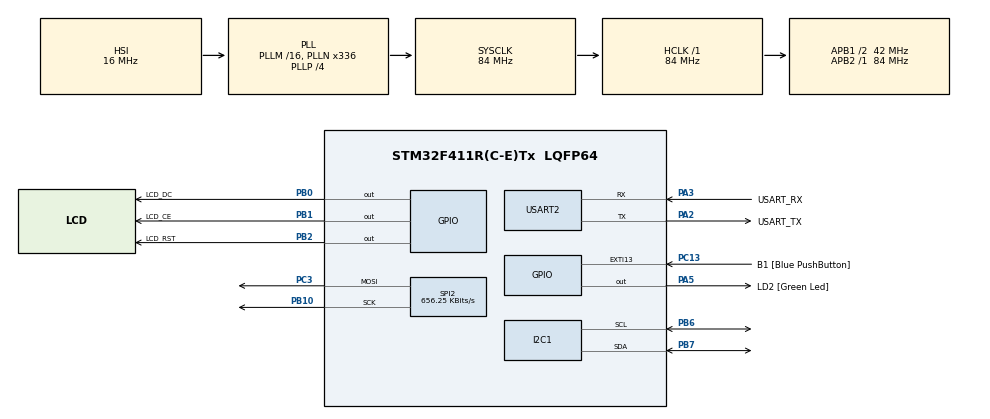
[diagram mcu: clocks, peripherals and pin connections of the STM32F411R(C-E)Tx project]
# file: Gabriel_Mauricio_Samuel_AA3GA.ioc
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Mcu.Family=STM32F4
Mcu.Name=STM32F411R(C-E)Tx
Mcu.Package=LQFP64
NVIC.PriorityGroup=NVIC_PRIORITYGROUP_0
PA13.GPIO_Label=TMS
PA13.Mode=Serial_Wire
PA13.Signal=SYS_JTMS-SWDIO
PA14.GPIO_Label=TCK
PA14.Mode=Serial_Wire
PA14.Signal=SYS_JTCK-SWCLK
PA2.GPIO_Label=USART_TX
PA2.Mode=Asynchronous
PA2.Signal=USART2_TX
PA3.GPIO_Label=USART_RX
PA3.Mode=Asynchronous
PA3.Signal=USART2_RX
PA5.GPIO_Label=LD2 [Green Led]
PA5.Signal=GPIO_Output
PB0.GPIO_Label=LCD_DC
PB0.Signal=GPIO_Output
PB1.GPIO_Label=LCD_CE
PB1.Signal=GPIO_Output
PB10.Mode=TX_Only_Simplex_Unidirect_Master
PB10.Signal=SPI2_SCK
PB2.GPIO_Label=LCD_RST
PB2.Signal=GPIO_Output
PB3.GPIO_Label=SWO
PB3.Signal=SYS_JTDO-SWO
PB6.Mode=I2C
PB6.Signal=I2C1_SCL
PB7.Mode=I2C
PB7.Signal=I2C1_SDA
PC13-ANTI_TAMP.GPIO_Label=B1 [Blue PushButton]
PC13-ANTI_TAMP.GPIO_ModeDefaultEXTI=GPIO_MODE_IT_FALLING
PC13-ANTI_TAMP.Signal=GPXTI13
PC14-OSC32_IN.Mode=LSE-External-Oscillator
PC14-OSC32_IN.Signal=RCC_OSC32_IN
PC15-OSC32_OUT.Mode=LSE-External-Oscillator
PC15-OSC32_OUT.Signal=RCC_OSC32_OUT
PC3.Mode=TX_Only_Simplex_Unidirect_Master
PC3.Signal=SPI2_MOSI
PH0\ -\ OSC_IN.Mode=HSE-External-Clock-Source
PH0\ -\ OSC_IN.Signal=RCC_OSC_IN
PH1\ -\ OSC_OUT.Mode=HSE-External-Clock-Source
PH1\ -\ OSC_OUT.Signal=RCC_OSC_OUT
ProjectManager.HeapSize=0x200
ProjectManager.StackSize=0x400
ProjectManager.TargetToolchain=STM32CubeIDE
RCC.48MHZClocksFreq_Value=84000000
RCC.AHBFreq_Value=84000000
RCC.APB1CLKDivider=RCC_HCLK_DIV2
RCC.APB1Freq_Value=42000000
RCC.APB1TimFreq_Value=84000000
RCC.APB2Freq_Value=84000000
RCC.APB2TimFreq_Value=84000000
RCC.CortexFreq_Value=84000000
RCC.FLatency-AdvancedSettings=FLASH_LATENCY_2
RCC.HCLKFreq_Value=84000000
RCC.HSE_VALUE=8000000
RCC.HSI_VALUE=16000000
RCC.PLLN=336
RCC.PLLP=RCC_PLLP_DIV4
RCC.SYSCLKFreq_VALUE=84000000
RCC.SYSCLKSource=RCC_SYSCLKSOURCE_PLLCLK
RCC.VCOOutputFreq_Value=336000000
SPI2.BaudRatePrescaler=SPI_BAUDRATEPRESCALER_64
SPI2.CalculateBaudRate=656.25 KBits/s
SPI2.Direction=SPI_DIRECTION_2LINES
SPI2.Mode=SPI_MODE_MASTER
SPI2.VirtualType=VM_MASTER
USART2.VirtualMode=VM_ASYNC
board=NUCLEO-F411RE

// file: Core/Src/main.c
/* USER CODE BEGIN Header */
/**
  ******************************************************************************
  * @file           : main.c
  * @brief          : Main program body
  ******************************************************************************
  * @attention
  *
  * <h2><center>&copy; Copyright (c) 2021 STMicroelectronics.
  * All rights reserved.</center></h2>
  *
  * This software component is licensed by ST under BSD 3-Clause license,
  * the "License"; You may not use this file except in compliance with the
  * License. You may obtain a copy of the License at:
  *                        opensource.org/licenses/BSD-3-Clause
  *
  ******************************************************************************
  */
/* USER CODE END Header */
#include "main.h"

/* USER CODE BEGIN Includes */
#include "user_5110.h"
#include <stdio.h>
#include <stdlib.h>
#include "BMP280/bmp280.h"
/* USER CODE END Includes */

/* USER CODE BEGIN PD */
//#define BMP_ADDRESS 0xEC
/* USER CODE END PD */

I2C_HandleTypeDef hi2c1;

SPI_HandleTypeDef hspi2;

UART_HandleTypeDef huart2;

/* USER CODE BEGIN PV */
BMP280_HandleTypedef bmp280;

float pressure, temperature, humidity;

uint16_t size;
uint8_t Data[256];
/* USER CODE END PV */

void SystemClock_Config(void);
static void MX_GPIO_Init(void);
static void MX_USART2_UART_Init(void);
static void MX_I2C1_Init(void);
static void MX_SPI2_Init(void);

/* USER CODE BEGIN 0 */
char Temperature1[10];
/* USER CODE END 0 */

int main(void)
{

  /* MCU Configuration--------------------------------------------------------*/

  /* Reset of all peripherals, Initializes the Flash interface and the Systick. */
  HAL_Init();

  /* Configure the system clock */
  SystemClock_Config();

  /* Initialize all configured peripherals */
  MX_GPIO_Init();
  MX_USART2_UART_Init();
  MX_I2C1_Init();
  MX_SPI2_Init();
  /* USER CODE BEGIN 2 */
  //INICIAR DISPLAY
  LCD_Init();
  LCD_Write_String(0,0, "Inicializando...");

  //INICIAR SENSOR
  bmp280_init_default_params(&bmp280.params);
  bmp280.addr = BMP280_I2C_ADDRESS_0;
  bmp280.i2c = &hi2c1;

  while (!bmp280_init(&bmp280, &bmp280.params)) {
	  size = sprintf((char *)Data, "Falha na inicializacao do BMP280\n");
	  HAL_UART_Transmit(&huart2, Data, size, 1000);
	  HAL_Delay(2000);
  }
  bool bme280p = bmp280.id == BME280_CHIP_ID;
  size = sprintf((char *)Data, "BMP280: encontrado %s\n", bme280p ? "BME280" : "BMP280");
  HAL_UART_Transmit(&huart2, Data, size, 1000);
  /* USER CODE END 2 */

  /* Infinite loop */
  while (1)
  {

    /* USER CODE BEGIN 3 */
	  HAL_Delay(100);
	  while (!bmp280_read_float(&bmp280, &temperature, &pressure, &humidity)) {
		  size = sprintf((char *)Data,
				  "Falha na leitura de temperatura\n");
		  HAL_UART_Transmit(&huart2, Data, size, 1000);
		  HAL_Delay(2000);
	  }

	  size = sprintf((char *)Data,"T:%.2f,P:%.2f", temperature, pressure);
	  HAL_UART_Transmit(&huart2, Data, size, 1000);

	  LCD_Clear();
	  LCD_Write_String(0, 0, "Temperatura:");
	  sprintf(Temperature1, "%.2f C", temperature);
	  LCD_Write_String(0, 1, Temperature1);
	  LCD_Write_String(0, 3, "Grupo: ");
	  LCD_Write_String(0, 4, "Gabriel, Mauricio e Samuel ");

	  HAL_Delay(2000);
  }
  /* USER CODE END 3 */
}

void SystemClock_Config(void)
{
  RCC_OscInitTypeDef RCC_OscInitStruct = {0};
  RCC_ClkInitTypeDef RCC_ClkInitStruct = {0};

  /** Configure the main internal regulator output voltage
  */
  __HAL_RCC_PWR_CLK_ENABLE();
  __HAL_PWR_VOLTAGESCALING_CONFIG(PWR_REGULATOR_VOLTAGE_SCALE1);
  /** Initializes the RCC Oscillators according to the specified parameters
  * in the RCC_OscInitTypeDef structure.
  */
  RCC_OscInitStruct.OscillatorType = RCC_OSCILLATORTYPE_HSI;
  RCC_OscInitStruct.HSIState = RCC_HSI_ON;
  RCC_OscInitStruct.HSICalibrationValue = RCC_HSICALIBRATION_DEFAULT;
  RCC_OscInitStruct.PLL.PLLState = RCC_PLL_ON;
  RCC_OscInitStruct.PLL.PLLSource = RCC_PLLSOURCE_HSI;
  RCC_OscInitStruct.PLL.PLLM = 16;
  RCC_OscInitStruct.PLL.PLLN = 336;
  RCC_OscInitStruct.PLL.PLLP = RCC_PLLP_DIV4;
  RCC_OscInitStruct.PLL.PLLQ = 4;
  if (HAL_RCC_OscConfig(&RCC_OscInitStruct) != HAL_OK)
  {
    Error_Handler();
  }
  /** Initializes the CPU, AHB and APB buses clocks
  */
  RCC_ClkInitStruct.ClockType = RCC_CLOCKTYPE_HCLK|RCC_CLOCKTYPE_SYSCLK
                              |RCC_CLOCKTYPE_PCLK1|RCC_CLOCKTYPE_PCLK2;
  RCC_ClkInitStruct.SYSCLKSource = RCC_SYSCLKSOURCE_PLLCLK;
  RCC_ClkInitStruct.AHBCLKDivider = RCC_SYSCLK_DIV1;
  RCC_ClkInitStruct.APB1CLKDivider = RCC_HCLK_DIV2;
  RCC_ClkInitStruct.APB2CLKDivider = RCC_HCLK_DIV1;

  if (HAL_RCC_ClockConfig(&RCC_ClkInitStruct, FLASH_LATENCY_2) != HAL_OK)
  {
    Error_Handler();
  }
}

static void MX_I2C1_Init(void)
{

  hi2c1.Instance = I2C1;
  hi2c1.Init.ClockSpeed = 100000;
  hi2c1.Init.DutyCycle = I2C_DUTYCYCLE_2;
  hi2c1.Init.OwnAddress1 = 0;
  hi2c1.Init.AddressingMode = I2C_ADDRESSINGMODE_7BIT;
  hi2c1.Init.DualAddressMode = I2C_DUALADDRESS_DISABLE;
  hi2c1.Init.OwnAddress2 = 0;
  hi2c1.Init.GeneralCallMode = I2C_GENERALCALL_DISABLE;
  hi2c1.Init.NoStretchMode = I2C_NOSTRETCH_DISABLE;
  if (HAL_I2C_Init(&hi2c1) != HAL_OK)
  {
    Error_Handler();
  }

}

static void MX_SPI2_Init(void)
{

  /* SPI2 parameter configuration*/
  hspi2.Instance = SPI2;
  hspi2.Init.Mode = SPI_MODE_MASTER;
  hspi2.Init.Direction = SPI_DIRECTION_2LINES;
  hspi2.Init.DataSize = SPI_DATASIZE_8BIT;
  hspi2.Init.CLKPolarity = SPI_POLARITY_LOW;
  hspi2.Init.CLKPhase = SPI_PHASE_1EDGE;
  hspi2.Init.NSS = SPI_NSS_SOFT;
  hspi2.Init.BaudRatePrescaler = SPI_BAUDRATEPRESCALER_64;
  hspi2.Init.FirstBit = SPI_FIRSTBIT_MSB;
  hspi2.Init.TIMode = SPI_TIMODE_DISABLE;
  hspi2.Init.CRCCalculation = SPI_CRCCALCULATION_DISABLE;
  hspi2.Init.CRCPolynomial = 10;
  if (HAL_SPI_Init(&hspi2) != HAL_OK)
  {
    Error_Handler();
  }

}

static void MX_USART2_UART_Init(void)
{

  huart2.Instance = USART2;
  huart2.Init.BaudRate = 115200;
  huart2.Init.WordLength = UART_WORDLENGTH_8B;
  huart2.Init.StopBits = UART_STOPBITS_1;
  huart2.Init.Parity = UART_PARITY_NONE;
  huart2.Init.Mode = UART_MODE_TX_RX;
  huart2.Init.HwFlowCtl = UART_HWCONTROL_NONE;
  huart2.Init.OverSampling = UART_OVERSAMPLING_16;
  if (HAL_UART_Init(&huart2) != HAL_OK)
  {
    Error_Handler();
  }

}

static void MX_GPIO_Init(void)
{
  GPIO_InitTypeDef GPIO_InitStruct = {0};

  /* GPIO Ports Clock Enable */
  __HAL_RCC_GPIOC_CLK_ENABLE();
  __HAL_RCC_GPIOH_CLK_ENABLE();
  __HAL_RCC_GPIOA_CLK_ENABLE();
  __HAL_RCC_GPIOB_CLK_ENABLE();

  /*Configure GPIO pin Output Level */
  HAL_GPIO_WritePin(LD2_GPIO_Port, LD2_Pin, GPIO_PIN_RESET);

  /*Configure GPIO pin Output Level */
  HAL_GPIO_WritePin(GPIOB, LCD_DC_Pin|LCD_CE_Pin|LCD_RST_Pin, GPIO_PIN_RESET);

  /*Configure GPIO pin : B1_Pin */
  GPIO_InitStruct.Pin = B1_Pin;
  GPIO_InitStruct.Mode = GPIO_MODE_IT_FALLING;
  GPIO_InitStruct.Pull = GPIO_NOPULL;
  HAL_GPIO_Init(B1_GPIO_Port, &GPIO_InitStruct);

  /*Configure GPIO pin : LD2_Pin */
  GPIO_InitStruct.Pin = LD2_Pin;
  GPIO_InitStruct.Mode = GPIO_MODE_OUTPUT_PP;
  GPIO_InitStruct.Pull = GPIO_NOPULL;
  GPIO_InitStruct.Speed = GPIO_SPEED_FREQ_LOW;
  HAL_GPIO_Init(LD2_GPIO_Port, &GPIO_InitStruct);

  /*Configure GPIO pins : LCD_DC_Pin LCD_CE_Pin LCD_RST_Pin */
  GPIO_InitStruct.Pin = LCD_DC_Pin|LCD_CE_Pin|LCD_RST_Pin;
  GPIO_InitStruct.Mode = GPIO_MODE_OUTPUT_PP;
  GPIO_InitStruct.Pull = GPIO_NOPULL;
  GPIO_InitStruct.Speed = GPIO_SPEED_FREQ_LOW;
  HAL_GPIO_Init(GPIOB, &GPIO_InitStruct);

}

void Error_Handler(void)
{
  __disable_irq();
  while (1)
  {
  }
}

/************************ (C) COPYRIGHT STMicroelectronics *****END OF FILE****/
